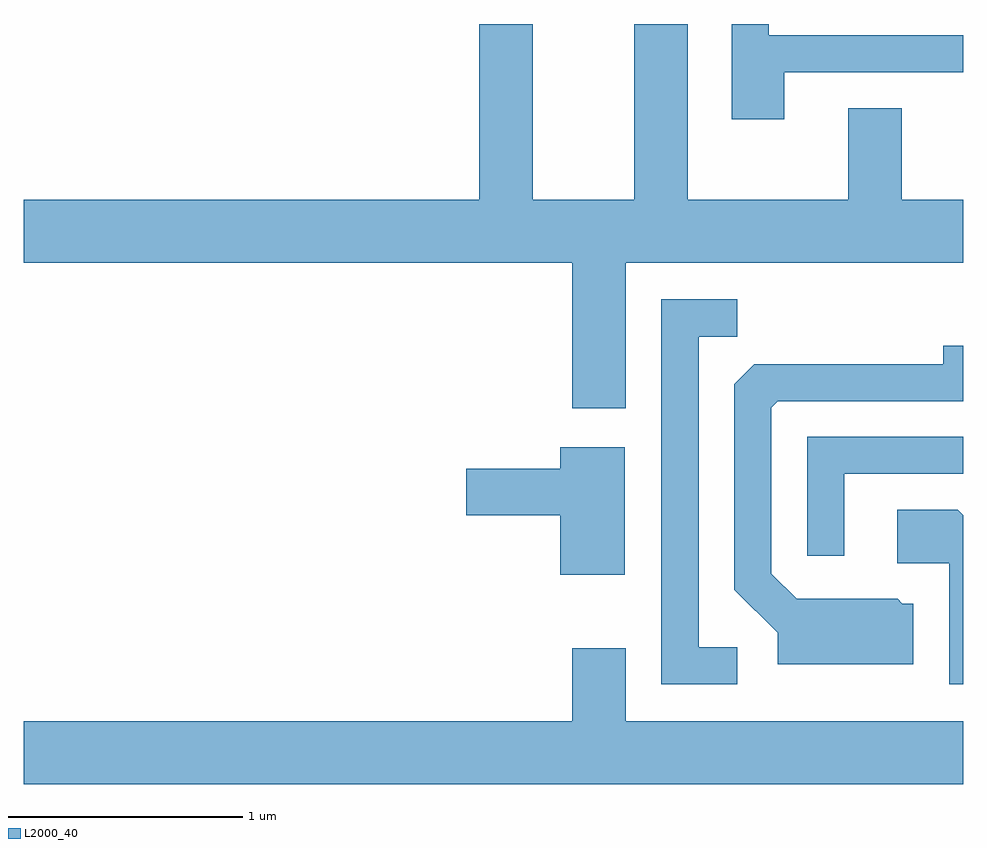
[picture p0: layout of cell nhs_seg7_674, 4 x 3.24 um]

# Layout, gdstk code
import gdstk
lib = gdstk.Library(unit=1e-6, precision=1e-09)
def P(c, l, *ps):  # polygons
    for p in ps: c.add(gdstk.Polygon(p, *l))
L2000_40 = (2000, 40)

nhs_seg7_674 = lib.new_cell('nhs_seg7_674')
P(nhs_seg7_674, L2000_40, [(208.174,1683.236),(209.611,1683.236),(209.611,1683.504),(209.349,1683.504),(209.349,1683.894),(209.121,1683.894),(209.121,1683.504),(208.439,1683.504),(208.439,1684.252),(208.211,1684.252),(208.211,1683.504),(207.779,1683.504),(207.779,1684.252),(207.551,1684.252),(207.551,1683.504),(205.611,1683.504),(205.611,1683.236),(207.946,1683.236),(207.946,1682.616),(208.174,1682.616)],
  [(208.849,1684.046),(209.611,1684.046),(209.611,1684.204),(208.784,1684.204),(208.784,1684.252),(208.626,1684.252),(208.626,1683.846),(208.849,1683.846)],
  [(208.648,1681.599),(208.484,1681.599),(208.484,1682.921),(208.648,1682.921),(208.648,1683.079),(208.326,1683.079),(208.326,1681.441),(208.648,1681.441)],
  [(209.399,1681.784),(209.352,1681.784),(209.332,1681.804),(208.902,1681.804),(208.794,1681.912),(208.794,1682.619),(208.822,1682.646),(209.611,1682.646),(209.611,1682.883),(209.526,1682.883),(209.526,1682.804),(208.722,1682.804),(208.636,1682.719),(208.636,1681.844),(208.821,1681.659),(208.821,1681.526),(209.399,1681.526)],
  [(209.104,1682.336),(209.611,1682.336),(209.611,1682.494),(208.946,1682.494),(208.946,1681.988),(209.104,1681.988)],
  [(208.169,1682.449),(207.896,1682.449),(207.896,1682.359),(207.496,1682.359),(207.496,1682.161),(207.896,1682.161),(207.896,1681.906),(208.169,1681.906)],
  [(209.611,1682.16),(209.587,1682.184),(209.331,1682.184),(209.331,1681.956),(209.551,1681.956),(209.551,1681.441),(209.611,1681.441)],
  [(209.611,1681.284),(208.174,1681.284),(208.174,1681.594),(207.946,1681.594),(207.946,1681.284),(205.611,1681.284),(205.611,1681.016),(209.611,1681.016)])

lib.write_gds('nhs_seg7_674.gds')
